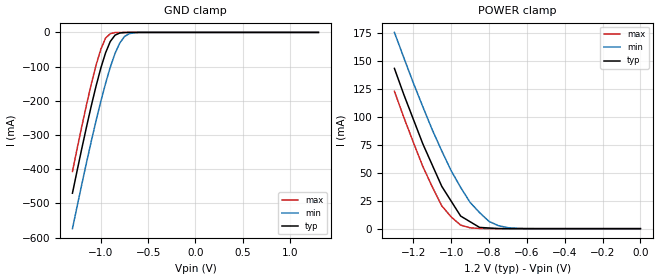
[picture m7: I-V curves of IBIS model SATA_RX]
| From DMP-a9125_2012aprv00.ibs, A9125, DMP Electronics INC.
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[Model]   SATA_RX
Model_type   Terminator
|   typ   min   max
C_comp   670fF   695fF   660fF
[Voltage Range]   1.200V   1.100V   1.300V
[Temperature Range]   25   125   -40
[Rgnd]   50.77   57.03   45.29
[Rac]   350   370   350
[Cac]   150fF   165fF   130fF
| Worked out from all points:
|   GND clamp passes 1 mA (typ) near -0.77 V on its own axis
|   POWER clamp passes 1 mA (typ) near -0.84 V on its own axis
[GND Clamp]
|   Voltage   I(typ)   I(min)   I(max)
-1.3V     -470.2mA   -573.9mA   -406.6mA
-1.2V     -338.1mA   -442.6mA   -273.5mA
-1.1V     -213.6mA   -317.1mA   -149.8mA
-1V       -104.3mA   -201.5mA   -49.3mA
-950mV    -59.86mA   -149.2mA   -16.77mA
-900mV    -26.49mA   -101.6mA   -3.731mA
-850mV    -8.18mA    -61.45mA   -409.6uA
-800mV    -1.754mA   -31.29mA   -89.55uA
-750mV    -455.5uA   -12.17mA   -64.51uA
-700mV    -121uA     -3.835mA   -62.55uA
-600mV    -52.67uA   -300.2uA   -62.28uA
1.3V      71.53nA    78.51nA    71.54nA
[Power Clamp]
|   Voltage   I(typ)   I(min)   I(max)
-1.3V     143.2mA    175.4mA    122.8mA
-1.25V    119.7mA    152.6mA    99.31mA
-1.15V    75.82mA    109mA      55.59mA
-1.05V    37.9mA     69.56mA    20.44mA
-1V       24.56mA    51.74mA    10.5mA
-950mV    11.25mA    36.87mA    3.156mA
-900mV    6.172mA    23.45mA    750.7uA
-850mV    1.114mA    14.38mA    171uA
-800mV    574.4uA    6.484mA    9.342uA
-750mV    36.99uA    2.663mA    2.195uA
-650mV    998.3nA    245.8uA    139.6nA
0V        0A         0A         0A
